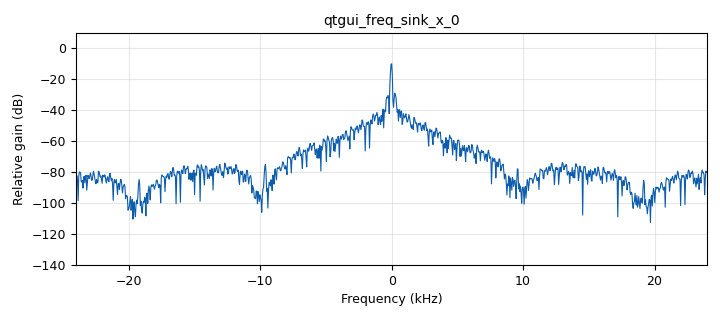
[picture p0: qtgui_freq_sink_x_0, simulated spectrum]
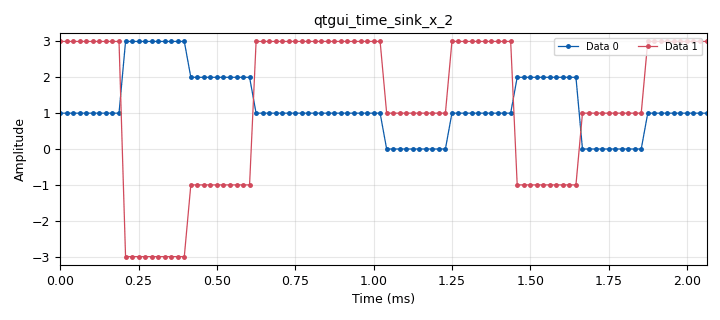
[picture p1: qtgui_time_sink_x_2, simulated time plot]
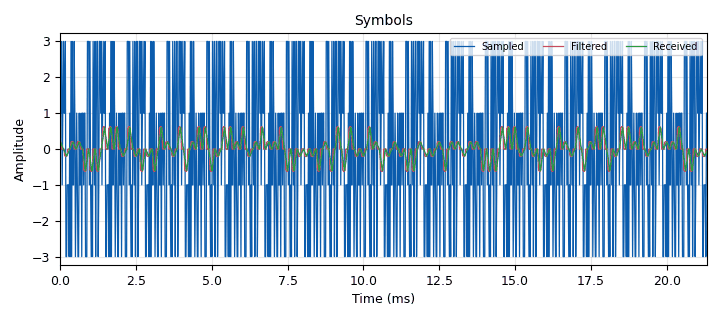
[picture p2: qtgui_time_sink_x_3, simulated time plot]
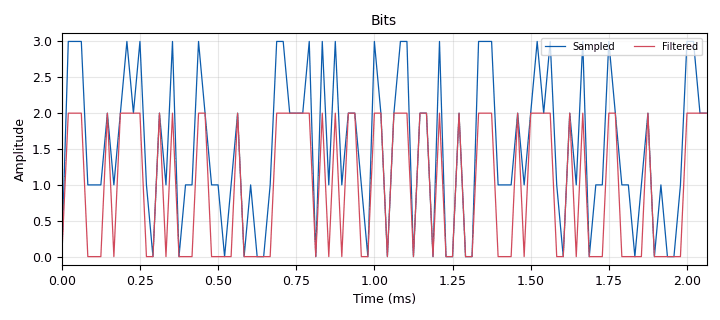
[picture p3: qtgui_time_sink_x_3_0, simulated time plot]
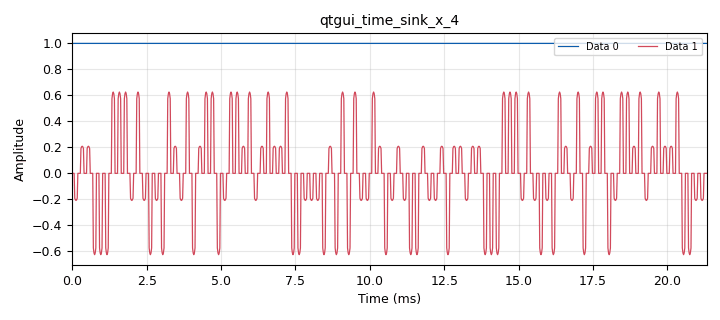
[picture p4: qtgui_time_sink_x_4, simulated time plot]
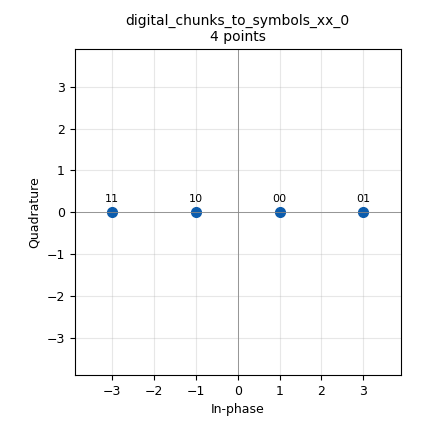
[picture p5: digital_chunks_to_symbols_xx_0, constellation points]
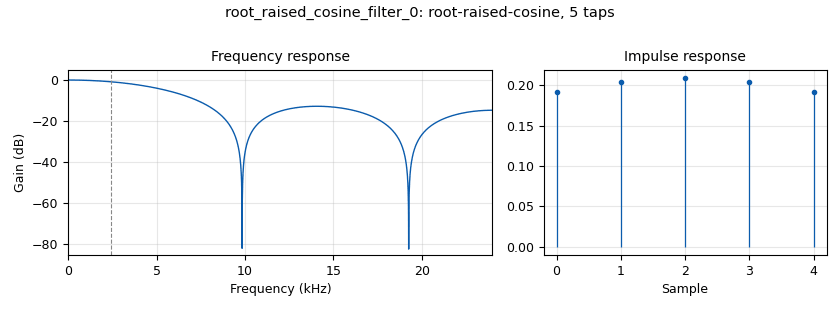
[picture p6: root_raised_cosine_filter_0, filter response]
<?xml version='1.0' encoding='utf-8'?>
<?grc format='1' created='3.7.9'?>
<flow_graph>
<block>
<key>options</key>
<param><key>id</key><value>top_block</value></param>
<param><key>category</key><value>Custom</value></param>
<param><key>generate_options</key><value>qt_gui</value></param>
</block>
<block>
<key>variable_qtgui_range</key>
<param><key>id</key><value>alpha</value></param>
<param><key>value</key><value>0.35</value></param>
<param><key>label</key><value>Alpha</value></param>
<param><key>orient</key><value>Qt.Horizontal</value></param>
<param><key>start</key><value>0</value></param>
<param><key>step</key><value>0.01</value></param>
<param><key>stop</key><value>10</value></param>
</block>
<block>
<key>variable</key>
<param><key>id</key><value>bits_per_sym</value></param>
<param><key>value</key><value>2</value></param>
</block>
<block>
<key>variable_qtgui_range</key>
<param><key>id</key><value>delay</value></param>
<param><key>value</key><value>rrc_taps if rrc_taps %2 != 0 else rrc_taps+1</value></param>
<param><key>_enabled</key><value>0</value></param>
<param><key>label</key><value>Delay</value></param>
<param><key>orient</key><value>Qt.Horizontal</value></param>
<param><key>start</key><value>0</value></param>
<param><key>step</key><value>1</value></param>
<param><key>stop</key><value>100+rrc_taps</value></param>
<param><key>rangeType</key><value>int</value></param>
</block>
<block>
<key>variable_qtgui_range</key>
<param><key>id</key><value>doppler</value></param>
<param><key>value</key><value>1</value></param>
<param><key>label</key><value>Max Doppler</value></param>
<param><key>orient</key><value>Qt.Horizontal</value></param>
<param><key>start</key><value>0</value></param>
<param><key>step</key><value>1</value></param>
<param><key>stop</key><value>5000</value></param>
</block>
<block>
<key>variable</key>
<param><key>id</key><value>fsk_deviation_hz</value></param>
<param><key>value</key><value>648</value></param>
</block>
<block>
<key>variable</key>
<param><key>id</key><value>max_deviation</value></param>
<param><key>value</key><value>fsk_deviation_hz*3</value></param>
</block>
<block>
<key>variable_qtgui_range</key>
<param><key>id</key><value>noise</value></param>
<param><key>value</key><value>0</value></param>
<param><key>label</key><value>Noise Level</value></param>
<param><key>orient</key><value>Qt.Horizontal</value></param>
<param><key>start</key><value>0</value></param>
<param><key>step</key><value>0.1</value></param>
<param><key>stop</key><value>20</value></param>
</block>
<block>
<key>variable_qtgui_range</key>
<param><key>id</key><value>rrc_taps</value></param>
<param><key>value</key><value>50</value></param>
<param><key>_enabled</key><value>0</value></param>
<param><key>label</key><value>RRC Taps</value></param>
<param><key>orient</key><value>Qt.Horizontal</value></param>
<param><key>start</key><value>1</value></param>
<param><key>step</key><value>1</value></param>
<param><key>stop</key><value>500</value></param>
<param><key>rangeType</key><value>int</value></param>
</block>
<block>
<key>variable</key>
<param><key>id</key><value>rrc_taps</value></param>
<param><key>value</key><value>5</value></param>
</block>
<block>
<key>variable</key>
<param><key>id</key><value>samp_per_sym</value></param>
<param><key>value</key><value>10</value></param>
</block>
<block>
<key>variable</key>
<param><key>id</key><value>samp_rate</value></param>
<param><key>value</key><value>symbol_rate*samp_per_sym</value></param>
</block>
<block>
<key>variable</key>
<param><key>id</key><value>symbol_rate</value></param>
<param><key>value</key><value>4800</value></param>
</block>
<block>
<key>variable</key>
<param><key>id</key><value>tcola_m</value></param>
<param><key>_enabled</key><value>0</value></param>
<param><key>value</key><value>512</value></param>
</block>
<block>
<key>variable</key>
<param><key>id</key><value>tcola_m</value></param>
<param><key>_enabled</key><value>0</value></param>
<param><key>value</key><value>128</value></param>
</block>
<block>
<key>variable</key>
<param><key>id</key><value>tcola_m</value></param>
<param><key>_enabled</key><value>0</value></param>
<param><key>value</key><value>32</value></param>
</block>
<block>
<key>variable</key>
<param><key>id</key><value>tcola_m</value></param>
<param><key>value</key><value>0</value></param>
</block>
<block>
<key>variable</key>
<param><key>id</key><value>tcola_r</value></param>
<param><key>value</key><value>1</value></param>
</block>
<block>
<key>analog_quadrature_demod_cf</key>
<param><key>id</key><value>analog_quadrature_demod_cf_0</value></param>
<param><key>gain</key><value>samp_rate/(2*math.pi*fsk_deviation_hz)</value></param>
</block>
<block>
<key>blks2_error_rate</key>
<param><key>id</key><value>blks2_error_rate_0</value></param>
<param><key>bits_per_symbol</key><value>1</value></param>
<param><key>_enabled</key><value>0</value></param>
<param><key>type</key><value>'BER'</value></param>
<param><key>win_size</key><value>1000</value></param>
</block>
<block>
<key>blocks_char_to_float</key>
<param><key>id</key><value>blocks_char_to_float_0</value></param>
<param><key>_enabled</key><value>0</value></param>
<param><key>scale</key><value>1</value></param>
</block>
<block>
<key>blocks_char_to_float</key>
<param><key>id</key><value>blocks_char_to_float_0_0</value></param>
<param><key>_enabled</key><value>0</value></param>
<param><key>scale</key><value>1</value></param>
</block>
<block>
<key>blocks_char_to_float</key>
<param><key>id</key><value>blocks_char_to_float_1</value></param>
<param><key>scale</key><value>1</value></param>
</block>
<block>
<key>blocks_char_to_float</key>
<param><key>id</key><value>blocks_char_to_float_3</value></param>
<param><key>scale</key><value>1</value></param>
</block>
<block>
<key>blocks_char_to_float</key>
<param><key>id</key><value>blocks_char_to_float_3_0</value></param>
<param><key>scale</key><value>1</value></param>
</block>
<block>
<key>blocks_complex_to_mag</key>
<param><key>id</key><value>blocks_complex_to_mag_0</value></param>
</block>
<block>
<key>blocks_delay</key>
<param><key>id</key><value>blocks_delay_0</value></param>
<param><key>delay</key><value>rrc_taps+tcola_m+delay</value></param>
<param><key>_enabled</key><value>0</value></param>
<param><key>type</key><value>float</value></param>
</block>
<block>
<key>blocks_delay</key>
<param><key>id</key><value>blocks_delay_0_0</value></param>
<param><key>delay</key><value>delay</value></param>
<param><key>_enabled</key><value>0</value></param>
<param><key>type</key><value>byte</value></param>
</block>
<block>
<key>blocks_delay</key>
<param><key>id</key><value>blocks_delay_1</value></param>
<param><key>delay</key><value>int(rrc_taps/samp_per_sym)</value></param>
<param><key>type</key><value>byte</value></param>
</block>
<block>
<key>blocks_delay</key>
<param><key>id</key><value>blocks_delay_1_0</value></param>
<param><key>delay</key><value>int(rrc_taps/2)</value></param>
<param><key>type</key><value>float</value></param>
</block>
<block>
<key>blocks_delay</key>
<param><key>id</key><value>blocks_delay_1_0_0</value></param>
<param><key>delay</key><value>rrc_taps</value></param>
<param><key>type</key><value>float</value></param>
</block>
<block>
<key>blocks_keep_one_in_n</key>
<param><key>id</key><value>blocks_keep_one_in_n_0</value></param>
<param><key>n</key><value>samp_per_sym</value></param>
<param><key>type</key><value>byte</value></param>
</block>
<block>
<key>blocks_pack_k_bits_bb</key>
<param><key>id</key><value>blocks_pack_k_bits_bb_0_0</value></param>
<param><key>k</key><value>bits_per_sym</value></param>
</block>
<block>
<key>blocks_repeat</key>
<param><key>id</key><value>blocks_repeat_0</value></param>
<param><key>_enabled</key><value>2</value></param>
<param><key>interp</key><value>samp_per_sym</value></param>
<param><key>type</key><value>float</value></param>
</block>
<block>
<key>blocks_repeat</key>
<param><key>id</key><value>blocks_repeat_0_0</value></param>
<param><key>interp</key><value>samp_per_sym</value></param>
<param><key>type</key><value>float</value></param>
</block>
<block>
<key>blocks_repeat</key>
<param><key>id</key><value>blocks_repeat_0_0_0</value></param>
<param><key>interp</key><value>samp_per_sym</value></param>
<param><key>type</key><value>float</value></param>
</block>
<block>
<key>blocks_throttle</key>
<param><key>id</key><value>blocks_throttle_0</value></param>
<param><key>_enabled</key><value>2</value></param>
<param><key>samples_per_second</key><value>symbol_rate</value></param>
<param><key>type</key><value>float</value></param>
</block>
<block>
<key>blocks_throttle</key>
<param><key>id</key><value>blocks_throttle_0_0</value></param>
<param><key>samples_per_second</key><value>samp_rate</value></param>
<param><key>type</key><value>float</value></param>
</block>
<block>
<key>blocks_unpack_k_bits_bb</key>
<param><key>id</key><value>blocks_unpack_k_bits_bb_0</value></param>
<param><key>_enabled</key><value>0</value></param>
<param><key>k</key><value>2</value></param>
</block>
<block>
<key>blocks_vco_c</key>
<param><key>id</key><value>blocks_vco_c_0</value></param>
<param><key>amplitude</key><value>1</value></param>
<param><key>samp_rate</key><value>samp_rate</value></param>
<param><key>sensitivity</key><value>fsk_deviation_hz*2*math.pi</value></param>
</block>
<block>
<key>channels_channel_model</key>
<param><key>id</key><value>channels_channel_model_0</value></param>
<param><key>_enabled</key><value>2</value></param>
<param><key>epsilon</key><value>1.0</value></param>
<param><key>freq_offset</key><value>0.0</value></param>
<param><key>noise_voltage</key><value>noise</value></param>
<param><key>seed</key><value>0</value></param>
<param><key>taps</key><value>1.0 + 1.0j</value></param>
</block>
<block>
<key>channels_fading_model</key>
<param><key>id</key><value>channels_fading_model_0</value></param>
<param><key>_enabled</key><value>2</value></param>
<param><key>LOS</key><value>False</value></param>
<param><key>fDTs</key><value>doppler</value></param>
<param><key>N</key><value>8</value></param>
<param><key>seed</key><value>0</value></param>
</block>
<block>
<key>digital_chunks_to_symbols_xx</key>
<param><key>id</key><value>digital_chunks_to_symbols_xx_0</value></param>
<param><key>dimension</key><value>1</value></param>
<param><key>in_type</key><value>byte</value></param>
<param><key>out_type</key><value>float</value></param>
<param><key>symbol_table</key><value>(1,3,-1,-3)</value></param>
</block>
<block>
<key>digital_glfsr_source_x</key>
<param><key>id</key><value>digital_glfsr_source_x_0</value></param>
<param><key>degree</key><value>6</value></param>
<param><key>mask</key><value>0</value></param>
<param><key>repeat</key><value>True</value></param>
<param><key>seed</key><value>1</value></param>
<param><key>type</key><value>byte</value></param>
</block>
<block>
<key>epy_block</key>
<param><key>id</key><value>epy_block_0</value></param>
<param><key>_source_code</key><value>"""
Embedded Python Blocks:

Each this file is saved, GRC will instantiate the first class it finds to get
ports and parameters of your block. The arguments to __init__  will be the
parameters. All of them are required to have default values!
"""
import numpy as np
from gnuradio import gr



class blk(gr.sync_block):
    def __init__(self, codeMap=[]):  # only default arguments here
        gr.sync_block.__init__(
            self,
            name='4FSK Value Mapper',
            in_sig=[np.float32],
            out_sig=[np.byte]
        )
        self.codeMap = np.asarray(codeMap)

    def find_nearest(self,value):
	idx = (np.abs(self.codeMap - value)).argmin()
	return idx

    def work(self, input_items, output_items):
        output_items[0][:] = [np.ushort(self.find_nearest(x)) for x in input_items[0]]
        return len(output_items[0])
</value></param>
<param><key>codeMap</key><value>[1,3,-1,-3]</value></param>
</block>
<block>
<key>import</key>
<param><key>id</key><value>import_0</value></param>
<param><key>import</key><value>import math</value></param>
</block>
<block>
<key>qtgui_freq_sink_x</key>
<param><key>id</key><value>qtgui_freq_sink_x_0</value></param>
<param><key>bw</key><value>samp_rate</value></param>
<param><key>fc</key><value>0</value></param>
<param><key>fftsize</key><value>1024</value></param>
<param><key>gui_hint</key><value>tabs@2</value></param>
<param><key>showports</key><value>True</value></param>
<param><key>type</key><value>complex</value></param>
<param><key>wintype</key><value>firdes.WIN_BLACKMAN_hARRIS</value></param>
</block>
<block>
<key>qtgui_number_sink</key>
<param><key>id</key><value>qtgui_number_sink_0</value></param>
<param><key>_enabled</key><value>0</value></param>
<param><key>graph_type</key><value>qtgui.NUM_GRAPH_HORIZ</value></param>
<param><key>type</key><value>float</value></param>
<param><key>min</key><value>0</value></param>
<param><key>name</key><value>"Bit Error Rate"</value></param>
</block>
<block>
<key>qtgui_time_sink_x</key>
<param><key>id</key><value>qtgui_time_sink_x_0</value></param>
<param><key>_enabled</key><value>0</value></param>
<param><key>color1</key><value>"black"</value></param>
<param><key>label1</key><value></value></param>
<param><key>color2</key><value>"red"</value></param>
<param><key>label2</key><value></value></param>
<param><key>nconnections</key><value>2</value></param>
<param><key>size</key><value>samp_per_sym*25</value></param>
<param><key>srate</key><value>samp_rate</value></param>
<param><key>type</key><value>float</value></param>
<param><key>update_time</key><value>0.3</value></param>
<param><key>ymax</key><value>3.5</value></param>
<param><key>ymin</key><value>-3.5</value></param>
</block>
<block>
<key>qtgui_time_sink_x</key>
<param><key>id</key><value>qtgui_time_sink_x_1</value></param>
<param><key>_enabled</key><value>0</value></param>
<param><key>color1</key><value>"black"</value></param>
<param><key>label1</key><value>Sent</value></param>
<param><key>marker1</key><value>0</value></param>
<param><key>alpha2</key><value>1</value></param>
<param><key>color2</key><value>"red"</value></param>
<param><key>label2</key><value>Received</value></param>
<param><key>style2</key><value>2</value></param>
<param><key>name</key><value>Bits</value></param>
<param><key>nconnections</key><value>2</value></param>
<param><key>size</key><value>samp_rate/symbol_rate*10</value></param>
<param><key>srate</key><value>samp_rate</value></param>
<param><key>type</key><value>float</value></param>
<param><key>update_time</key><value>0.2</value></param>
<param><key>ymax</key><value>3.1</value></param>
<param><key>ymin</key><value>-.1</value></param>
</block>
<block>
<key>qtgui_time_sink_x</key>
<param><key>id</key><value>qtgui_time_sink_x_2</value></param>
<param><key>gui_hint</key><value>tabs@1</value></param>
<param><key>color1</key><value>"blue"</value></param>
<param><key>label1</key><value></value></param>
<param><key>marker1</key><value>0</value></param>
<param><key>color2</key><value>"red"</value></param>
<param><key>label2</key><value></value></param>
<param><key>marker2</key><value>0</value></param>
<param><key>nconnections</key><value>2</value></param>
<param><key>size</key><value>samp_per_sym*10</value></param>
<param><key>srate</key><value>samp_rate</value></param>
<param><key>type</key><value>float</value></param>
<param><key>update_time</key><value>0.5</value></param>
<param><key>ymax</key><value>3</value></param>
<param><key>ymin</key><value>-3</value></param>
</block>
<block>
<key>qtgui_time_sink_x</key>
<param><key>id</key><value>qtgui_time_sink_x_3</value></param>
<param><key>gui_hint</key><value>tabs@0:0,0</value></param>
<param><key>color1</key><value>"blue"</value></param>
<param><key>label1</key><value>Sampled</value></param>
<param><key>color2</key><value>"red"</value></param>
<param><key>label2</key><value>Filtered</value></param>
<param><key>color3</key><value>"green"</value></param>
<param><key>label3</key><value>Received</value></param>
<param><key>name</key><value>Symbols</value></param>
<param><key>nconnections</key><value>3</value></param>
<param><key>size</key><value>1024</value></param>
<param><key>srate</key><value>samp_rate</value></param>
<param><key>type</key><value>float</value></param>
<param><key>update_time</key><value>0.5</value></param>
<param><key>ymax</key><value>3</value></param>
<param><key>ymin</key><value>-3</value></param>
</block>
<block>
<key>qtgui_time_sink_x</key>
<param><key>id</key><value>qtgui_time_sink_x_3_0</value></param>
<param><key>gui_hint</key><value>tabs@0</value></param>
<param><key>color1</key><value>"blue"</value></param>
<param><key>label1</key><value>Sampled</value></param>
<param><key>color2</key><value>"red"</value></param>
<param><key>label2</key><value>Filtered</value></param>
<param><key>name</key><value>Bits</value></param>
<param><key>nconnections</key><value>2</value></param>
<param><key>size</key><value>100</value></param>
<param><key>srate</key><value>samp_rate</value></param>
<param><key>type</key><value>float</value></param>
<param><key>update_time</key><value>0.5</value></param>
<param><key>ymax</key><value>3</value></param>
<param><key>ymin</key><value>0</value></param>
</block>
<block>
<key>qtgui_time_sink_x</key>
<param><key>id</key><value>qtgui_time_sink_x_4</value></param>
<param><key>autoscale</key><value>True</value></param>
<param><key>gui_hint</key><value>tabs@2</value></param>
<param><key>color1</key><value>"blue"</value></param>
<param><key>label1</key><value></value></param>
<param><key>color2</key><value>"red"</value></param>
<param><key>label2</key><value></value></param>
<param><key>nconnections</key><value>2</value></param>
<param><key>size</key><value>1024</value></param>
<param><key>srate</key><value>samp_rate</value></param>
<param><key>type</key><value>float</value></param>
</block>
<block>
<key>root_raised_cosine_filter</key>
<param><key>id</key><value>root_raised_cosine_filter_0</value></param>
<param><key>alpha</key><value>alpha</value></param>
<param><key>type</key><value>interp_fir_filter_fff</value></param>
<param><key>gain</key><value>1</value></param>
<param><key>interp</key><value>samp_per_sym</value></param>
<param><key>ntaps</key><value>rrc_taps</value></param>
<param><key>samp_rate</key><value>samp_rate</value></param>
<param><key>sym_rate</key><value>symbol_rate</value></param>
</block>
<block>
<key>root_raised_cosine_filter</key>
<param><key>id</key><value>root_raised_cosine_filter_0_0_0</value></param>
<param><key>alpha</key><value>alpha</value></param>
<param><key>decim</key><value>1</value></param>
<param><key>type</key><value>fir_filter_fff</value></param>
<param><key>gain</key><value>1</value></param>
<param><key>ntaps</key><value>rrc_taps</value></param>
<param><key>samp_rate</key><value>samp_rate</value></param>
<param><key>sym_rate</key><value>symbol_rate</value></param>
</block>
<block>
<key>qtgui_tab_widget</key>
<param><key>id</key><value>tabs</value></param>
<param><key>label0</key><value>Symbols</value></param>
<param><key>label1</key><value>Data</value></param>
<param><key>label2</key><value>Rx / Demod</value></param>
<param><key>num_tabs</key><value>3</value></param>
</block>
<block>
<key>tcola_overlap_add</key>
<param><key>id</key><value>tcola_overlap_add_0</value></param>
<param><key>_enabled</key><value>2</value></param>
<param><key>hopSize</key><value>tcola_r</value></param>
<param><key>type</key><value>c</value></param>
<param><key>windowSize</key><value>tcola_m</value></param>
<param><key>window</key><value></value></param>
</block>
<block>
<key>tcola_time_compression</key>
<param><key>id</key><value>tcola_time_compression_0</value></param>
<param><key>_enabled</key><value>2</value></param>
<param><key>hopSize</key><value>tcola_r</value></param>
<param><key>type</key><value>c</value></param>
<param><key>windowSize</key><value>tcola_m</value></param>
<param><key>window</key><value></value></param>
</block>
<block>
<key>virtual_sink</key>
<param><key>id</key><value>v_sink_0</value></param>
<param><key>stream_id</key><value>message</value></param>
</block>
<block>
<key>virtual_source</key>
<param><key>id</key><value>v_source_0</value></param>
<param><key>stream_id</key><value>message</value></param>
</block>
<block>
<key>virtual_source</key>
<param><key>id</key><value>v_source_0_0</value></param>
<param><key>stream_id</key><value>message</value></param>
</block>
<block>
<key>virtual_sink</key>
<param><key>id</key><value>virtual_sink_0</value></param>
<param><key>stream_id</key><value>symbols</value></param>
</block>
<block>
<key>virtual_sink</key>
<param><key>id</key><value>virtual_sink_0_0</value></param>
<param><key>stream_id</key><value>sampled_symbols</value></param>
</block>
<block>
<key>virtual_sink</key>
<param><key>id</key><value>virtual_sink_1</value></param>
<param><key>stream_id</key><value>tx</value></param>
</block>
<block>
<key>virtual_sink</key>
<param><key>id</key><value>virtual_sink_2</value></param>
<param><key>stream_id</key><value>rx</value></param>
</block>
<block>
<key>virtual_sink</key>
<param><key>id</key><value>virtual_sink_3</value></param>
<param><key>stream_id</key><value>rx_symbol_sig</value></param>
</block>
<block>
<key>virtual_sink</key>
<param><key>id</key><value>virtual_sink_3_0</value></param>
<param><key>stream_id</key><value>rx_symbols</value></param>
</block>
<block>
<key>virtual_sink</key>
<param><key>id</key><value>virtual_sink_4</value></param>
<param><key>_enabled</key><value>0</value></param>
<param><key>stream_id</key><value>rx_bits</value></param>
</block>
<block>
<key>virtual_sink</key>
<param><key>id</key><value>virtual_sink_5</value></param>
<param><key>stream_id</key><value>filtered_symbols</value></param>
</block>
<block>
<key>virtual_source</key>
<param><key>id</key><value>virtual_source_0</value></param>
<param><key>stream_id</key><value>symbols</value></param>
</block>
<block>
<key>virtual_source</key>
<param><key>id</key><value>virtual_source_0_0</value></param>
<param><key>stream_id</key><value>symbols</value></param>
</block>
<block>
<key>virtual_source</key>
<param><key>id</key><value>virtual_source_0_0_0</value></param>
<param><key>stream_id</key><value>sampled_symbols</value></param>
</block>
<block>
<key>virtual_source</key>
<param><key>id</key><value>virtual_source_0_0_0_0</value></param>
<param><key>stream_id</key><value>rx_symbol_sig</value></param>
</block>
<block>
<key>virtual_source</key>
<param><key>id</key><value>virtual_source_0_0_0_1</value></param>
<param><key>stream_id</key><value>filtered_symbols</value></param>
</block>
<block>
<key>virtual_source</key>
<param><key>id</key><value>virtual_source_0_1</value></param>
<param><key>stream_id</key><value>sampled_symbols</value></param>
</block>
<block>
<key>virtual_source</key>
<param><key>id</key><value>virtual_source_1</value></param>
<param><key>stream_id</key><value>tx</value></param>
</block>
<block>
<key>virtual_source</key>
<param><key>id</key><value>virtual_source_1_0</value></param>
<param><key>stream_id</key><value>rx</value></param>
</block>
<block>
<key>virtual_source</key>
<param><key>id</key><value>virtual_source_1_0_0</value></param>
<param><key>stream_id</key><value>tx</value></param>
</block>
<block>
<key>virtual_source</key>
<param><key>id</key><value>virtual_source_2</value></param>
<param><key>stream_id</key><value>rx</value></param>
</block>
<block>
<key>virtual_source</key>
<param><key>id</key><value>virtual_source_3</value></param>
<param><key>_enabled</key><value>0</value></param>
<param><key>stream_id</key><value>symbols</value></param>
</block>
<block>
<key>virtual_source</key>
<param><key>id</key><value>virtual_source_4</value></param>
<param><key>stream_id</key><value>rx_symbol_sig</value></param>
</block>
<block>
<key>virtual_source</key>
<param><key>id</key><value>virtual_source_4_0</value></param>
<param><key>_enabled</key><value>0</value></param>
<param><key>stream_id</key><value>rx_symbols</value></param>
</block>
<block>
<key>virtual_source</key>
<param><key>id</key><value>virtual_source_4_0_0</value></param>
<param><key>_enabled</key><value>0</value></param>
<param><key>stream_id</key><value>rx_symbols</value></param>
</block>
<block>
<key>virtual_source</key>
<param><key>id</key><value>virtual_source_4_1</value></param>
<param><key>stream_id</key><value>rx_symbols</value></param>
</block>
<block>
<key>virtual_source</key>
<param><key>id</key><value>virtual_source_4_1_0</value></param>
<param><key>stream_id</key><value>message</value></param>
</block>
<block>
<key>virtual_source</key>
<param><key>id</key><value>virtual_source_5</value></param>
<param><key>_enabled</key><value>0</value></param>
<param><key>stream_id</key><value>message</value></param>
</block>
<block>
<key>virtual_source</key>
<param><key>id</key><value>virtual_source_5_0</value></param>
<param><key>_enabled</key><value>0</value></param>
<param><key>stream_id</key><value>rx_bits</value></param>
</block>
<connection><source_block_id>analog_quadrature_demod_cf_0</source_block_id><sink_block_id>qtgui_time_sink_x_4</sink_block_id><source_key>0</source_key><sink_key>1</sink_key></connection>
<connection><source_block_id>analog_quadrature_demod_cf_0</source_block_id><sink_block_id>root_raised_cosine_filter_0_0_0</sink_block_id><source_key>0</source_key><sink_key>0</sink_key></connection>
<connection><source_block_id>blks2_error_rate_0</source_block_id><sink_block_id>qtgui_number_sink_0</sink_block_id><source_key>0</source_key><sink_key>0</sink_key></connection>
<connection><source_block_id>blocks_char_to_float_0</source_block_id><sink_block_id>qtgui_time_sink_x_1</sink_block_id><source_key>0</source_key><sink_key>0</sink_key></connection>
<connection><source_block_id>blocks_char_to_float_0_0</source_block_id><sink_block_id>qtgui_time_sink_x_1</sink_block_id><source_key>0</source_key><sink_key>1</sink_key></connection>
<connection><source_block_id>blocks_char_to_float_1</source_block_id><sink_block_id>blocks_repeat_0_0_0</sink_block_id><source_key>0</source_key><sink_key>0</sink_key></connection>
<connection><source_block_id>blocks_char_to_float_3</source_block_id><sink_block_id>qtgui_time_sink_x_3_0</sink_block_id><source_key>0</source_key><sink_key>1</sink_key></connection>
<connection><source_block_id>blocks_char_to_float_3_0</source_block_id><sink_block_id>qtgui_time_sink_x_3_0</sink_block_id><source_key>0</source_key><sink_key>0</sink_key></connection>
<connection><source_block_id>blocks_complex_to_mag_0</source_block_id><sink_block_id>qtgui_time_sink_x_4</sink_block_id><source_key>0</source_key><sink_key>0</sink_key></connection>
<connection><source_block_id>blocks_delay_0</source_block_id><sink_block_id>qtgui_time_sink_x_0</sink_block_id><source_key>0</source_key><sink_key>0</sink_key></connection>
<connection><source_block_id>blocks_delay_0_0</source_block_id><sink_block_id>blks2_error_rate_0</sink_block_id><source_key>0</source_key><sink_key>0</sink_key></connection>
<connection><source_block_id>blocks_delay_0_0</source_block_id><sink_block_id>blocks_char_to_float_0</sink_block_id><source_key>0</source_key><sink_key>0</sink_key></connection>
<connection><source_block_id>blocks_delay_1</source_block_id><sink_block_id>blocks_char_to_float_3_0</sink_block_id><source_key>0</source_key><sink_key>0</sink_key></connection>
<connection><source_block_id>blocks_delay_1_0</source_block_id><sink_block_id>qtgui_time_sink_x_3</sink_block_id><source_key>0</source_key><sink_key>1</sink_key></connection>
<connection><source_block_id>blocks_delay_1_0_0</source_block_id><sink_block_id>qtgui_time_sink_x_3</sink_block_id><source_key>0</source_key><sink_key>0</sink_key></connection>
<connection><source_block_id>blocks_keep_one_in_n_0</source_block_id><sink_block_id>virtual_sink_3_0</sink_block_id><source_key>0</source_key><sink_key>0</sink_key></connection>
<connection><source_block_id>blocks_pack_k_bits_bb_0_0</source_block_id><sink_block_id>v_sink_0</sink_block_id><source_key>0</source_key><sink_key>0</sink_key></connection>
<connection><source_block_id>blocks_repeat_0</source_block_id><sink_block_id>blocks_throttle_0</sink_block_id><source_key>0</source_key><sink_key>0</sink_key></connection>
<connection><source_block_id>blocks_repeat_0_0</source_block_id><sink_block_id>qtgui_time_sink_x_2</sink_block_id><source_key>0</source_key><sink_key>1</sink_key></connection>
<connection><source_block_id>blocks_repeat_0_0_0</source_block_id><sink_block_id>qtgui_time_sink_x_2</sink_block_id><source_key>0</source_key><sink_key>0</sink_key></connection>
<connection><source_block_id>blocks_throttle_0</source_block_id><sink_block_id>virtual_sink_0_0</sink_block_id><source_key>0</source_key><sink_key>0</sink_key></connection>
<connection><source_block_id>blocks_throttle_0_0</source_block_id><sink_block_id>blocks_vco_c_0</sink_block_id><source_key>0</source_key><sink_key>0</sink_key></connection>
<connection><source_block_id>blocks_throttle_0_0</source_block_id><sink_block_id>virtual_sink_5</sink_block_id><source_key>0</source_key><sink_key>0</sink_key></connection>
<connection><source_block_id>blocks_unpack_k_bits_bb_0</source_block_id><sink_block_id>virtual_sink_4</sink_block_id><source_key>0</source_key><sink_key>0</sink_key></connection>
<connection><source_block_id>blocks_vco_c_0</source_block_id><sink_block_id>tcola_time_compression_0</sink_block_id><source_key>0</source_key><sink_key>0</sink_key></connection>
<connection><source_block_id>channels_channel_model_0</source_block_id><sink_block_id>channels_fading_model_0</sink_block_id><source_key>0</source_key><sink_key>0</sink_key></connection>
<connection><source_block_id>channels_fading_model_0</source_block_id><sink_block_id>virtual_sink_2</sink_block_id><source_key>0</source_key><sink_key>0</sink_key></connection>
<connection><source_block_id>digital_chunks_to_symbols_xx_0</source_block_id><sink_block_id>virtual_sink_0</sink_block_id><source_key>0</source_key><sink_key>0</sink_key></connection>
<connection><source_block_id>digital_glfsr_source_x_0</source_block_id><sink_block_id>blocks_pack_k_bits_bb_0_0</sink_block_id><source_key>0</source_key><sink_key>0</sink_key></connection>
<connection><source_block_id>epy_block_0</source_block_id><sink_block_id>blocks_keep_one_in_n_0</sink_block_id><source_key>0</source_key><sink_key>0</sink_key></connection>
<connection><source_block_id>root_raised_cosine_filter_0</source_block_id><sink_block_id>blocks_throttle_0_0</sink_block_id><source_key>0</source_key><sink_key>0</sink_key></connection>
<connection><source_block_id>root_raised_cosine_filter_0_0_0</source_block_id><sink_block_id>virtual_sink_3</sink_block_id><source_key>0</source_key><sink_key>0</sink_key></connection>
<connection><source_block_id>tcola_overlap_add_0</source_block_id><sink_block_id>analog_quadrature_demod_cf_0</sink_block_id><source_key>0</source_key><sink_key>0</sink_key></connection>
<connection><source_block_id>tcola_time_compression_0</source_block_id><sink_block_id>virtual_sink_1</sink_block_id><source_key>0</source_key><sink_key>0</sink_key></connection>
<connection><source_block_id>v_source_0</source_block_id><sink_block_id>digital_chunks_to_symbols_xx_0</sink_block_id><source_key>0</source_key><sink_key>0</sink_key></connection>
<connection><source_block_id>v_source_0_0</source_block_id><sink_block_id>blocks_char_to_float_1</sink_block_id><source_key>0</source_key><sink_key>0</sink_key></connection>
<connection><source_block_id>virtual_source_0</source_block_id><sink_block_id>blocks_repeat_0</sink_block_id><source_key>0</source_key><sink_key>0</sink_key></connection>
<connection><source_block_id>virtual_source_0_0</source_block_id><sink_block_id>blocks_repeat_0_0</sink_block_id><source_key>0</source_key><sink_key>0</sink_key></connection>
<connection><source_block_id>virtual_source_0_0_0</source_block_id><sink_block_id>blocks_delay_1_0_0</sink_block_id><source_key>0</source_key><sink_key>0</sink_key></connection>
<connection><source_block_id>virtual_source_0_0_0_0</source_block_id><sink_block_id>qtgui_time_sink_x_3</sink_block_id><source_key>0</source_key><sink_key>2</sink_key></connection>
<connection><source_block_id>virtual_source_0_0_0_1</source_block_id><sink_block_id>blocks_delay_1_0</sink_block_id><source_key>0</source_key><sink_key>0</sink_key></connection>
<connection><source_block_id>virtual_source_0_1</source_block_id><sink_block_id>root_raised_cosine_filter_0</sink_block_id><source_key>0</source_key><sink_key>0</sink_key></connection>
<connection><source_block_id>virtual_source_1</source_block_id><sink_block_id>channels_channel_model_0</sink_block_id><source_key>0</source_key><sink_key>0</sink_key></connection>
<connection><source_block_id>virtual_source_1_0</source_block_id><sink_block_id>blocks_complex_to_mag_0</sink_block_id><source_key>0</source_key><sink_key>0</sink_key></connection>
<connection><source_block_id>virtual_source_1_0_0</source_block_id><sink_block_id>qtgui_freq_sink_x_0</sink_block_id><source_key>0</source_key><sink_key>0</sink_key></connection>
<connection><source_block_id>virtual_source_2</source_block_id><sink_block_id>tcola_overlap_add_0</sink_block_id><source_key>0</source_key><sink_key>0</sink_key></connection>
<connection><source_block_id>virtual_source_3</source_block_id><sink_block_id>blocks_delay_0</sink_block_id><source_key>0</source_key><sink_key>0</sink_key></connection>
<connection><source_block_id>virtual_source_4</source_block_id><sink_block_id>epy_block_0</sink_block_id><source_key>0</source_key><sink_key>0</sink_key></connection>
<connection><source_block_id>virtual_source_4_0</source_block_id><sink_block_id>qtgui_time_sink_x_0</sink_block_id><source_key>0</source_key><sink_key>1</sink_key></connection>
<connection><source_block_id>virtual_source_4_0_0</source_block_id><sink_block_id>blocks_unpack_k_bits_bb_0</sink_block_id><source_key>0</source_key><sink_key>0</sink_key></connection>
<connection><source_block_id>virtual_source_4_1</source_block_id><sink_block_id>blocks_char_to_float_3</sink_block_id><source_key>0</source_key><sink_key>0</sink_key></connection>
<connection><source_block_id>virtual_source_4_1_0</source_block_id><sink_block_id>blocks_delay_1</sink_block_id><source_key>0</source_key><sink_key>0</sink_key></connection>
<connection><source_block_id>virtual_source_5</source_block_id><sink_block_id>blocks_delay_0_0</sink_block_id><source_key>0</source_key><sink_key>0</sink_key></connection>
<connection><source_block_id>virtual_source_5_0</source_block_id><sink_block_id>blks2_error_rate_0</sink_block_id><source_key>0</source_key><sink_key>1</sink_key></connection>
<connection><source_block_id>virtual_source_5_0</source_block_id><sink_block_id>blocks_char_to_float_0_0</sink_block_id><source_key>0</source_key><sink_key>0</sink_key></connection>
</flow_graph>
